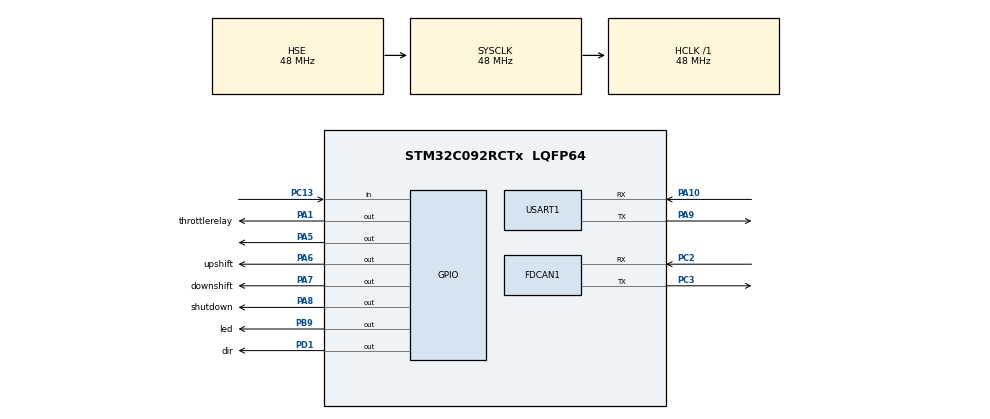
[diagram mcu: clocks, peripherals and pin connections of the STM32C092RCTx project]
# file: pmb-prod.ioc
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FDCAN1.CalculateBaudRateNominal=500000
FDCAN1.CalculateTimeBitNominal=2000
FDCAN1.CalculateTimeQuantumNominal=83.33333333333333
FDCAN1.DataSyncJumpWidth=11
FDCAN1.DataTimeSeg1=12
FDCAN1.DataTimeSeg2=11
FDCAN1.NominalPrescaler=1
FDCAN1.NominalSyncJumpWidth=3
FDCAN1.NominalTimeSeg1=20
FDCAN1.NominalTimeSeg2=3
FDCAN1.StdFiltersNbr=0
Mcu.Family=STM32C0
Mcu.Name=STM32C092RCTx
Mcu.Package=LQFP64
NUCLEO-C092RC.BUTTON=1
NUCLEO-C092RC.LD1=true
NUCLEO-C092RC.LD2=true
NUCLEO-C092RC.VCP=true
NVIC.EXTI4_15_IRQn=true\:0\:0\:false\:false\:true\:false\:true\:true
NVIC.FDCAN1_IT0_IRQn=true\:0\:0\:false\:false\:true\:true\:true\:true
NVIC.TIM17_IRQn=true\:0\:0\:false\:false\:true\:true\:true\:true
NVIC.USART1_IRQn=true\:0\:0\:false\:false\:true\:true\:true\:true
PA0.Signal=S_TIM2_CH1
PA1.GPIO_Label=throttlerelay
PA1.GPIO_Speed=GPIO_SPEED_FREQ_LOW
PA1.Signal=GPIO_Output
PA10.Mode=Asynchronous
PA10.Signal=USART1_RX
PA13.GPIO_Label=SWDIO
PA13.Signal=DEBUG_SWDIO
PA14-BOOT0.GPIO_Label=SWCLK
PA14-BOOT0.Signal=DEBUG_SWCLK
PA2.Signal=USART2_TX
PA3.Signal=USART2_RX
PA5.Signal=GPIO_Output
PA6.GPIO_Label=upshift
PA6.Signal=GPIO_Output
PA7.GPIO_Label=downshift
PA7.Signal=GPIO_Output
PA8.GPIO_Label=shutdown
PA8.Signal=GPIO_Output
PA9.Mode=Asynchronous
PA9.Signal=USART1_TX
PB9.GPIO_Label=led
PB9.Signal=GPIO_Output
PC13.Signal=GPIO_Input
PC14-OSCX_IN(PC14).GPIO_Label=OSCX_IN
PC14-OSCX_IN(PC14).Signal=RCC_OSCX_IN
PC15-OSCX_OUT(PC15).GPIO_Label=OSCX_OUT
PC15-OSCX_OUT(PC15).Signal=RCC_OSCX_OUT
PC2.Mode=FDCAN_Activate
PC2.Signal=FDCAN1_RX
PC3.Mode=FDCAN_Activate
PC3.Signal=FDCAN1_TX
PD1.GPIO_Label=dir
PD1.Signal=GPIO_Output
PF0-OSC_IN(PF0).GPIO_Label=OSC_IN
PF0-OSC_IN(PF0).Mode=HSE-External-Oscillator
PF0-OSC_IN(PF0).Signal=RCC_OSC_IN
PF1-OSC_OUT(PF1).GPIO_Label=OSC_OUT
PF1-OSC_OUT(PF1).Mode=HSE-External-Oscillator
PF1-OSC_OUT(PF1).Signal=RCC_OSC_OUT
ProjectManager.HeapSize=0x200
ProjectManager.StackSize=0x400
ProjectManager.TargetToolchain=CMake
RCC.ADCFreq_Value=48000000
RCC.AHBFreq_Value=48000000
RCC.APB1CLKDivider=RCC_APB1_DIV4
RCC.CortexFreq_Value=48000000
RCC.EXTERNAL_CLOCK_VALUE=12288000
RCC.HCLKFreq_Value=48000000
RCC.HSE_VALUE=48000000
RCC.HSISYSCLKDivider=RCC_HSI_DIV1
RCC.HSI_VALUE=48000000
RCC.LSE_VALUE=32768
RCC.SYSCLKFreq_VALUE=48000000
RCC.SYSCLKSource=RCC_SYSCLKSOURCE_HSE
RCC.USART1CLockSelection=RCC_USART1CLKSOURCE_SYSCLK
SH.S_TIM2_CH1.0=TIM2_CH1
TIM17.Prescaler=73
USART1.VirtualMode-Asynchronous=VM_ASYNC
VP_NUCLEO-C092RC_VS_BSP_COMMON.Mode=COMMON
VP_TIM17_VS_ClockSourceINT.Mode=Enable_Timer
board=NUCLEO-C092RC

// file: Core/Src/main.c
/* USER CODE BEGIN Header */
/**
  ******************************************************************************
  * @file           : main.c
  * @brief          : Main program body
  ******************************************************************************
  * @attention
  *
  * Copyright (c) 2026 STMicroelectronics.
  * All rights reserved.
  *
  * This software is licensed under terms that can be found in the LICENSE file
  * in the root directory of this software component.
  * If no LICENSE file comes with this software, it is provided AS-IS.
  *
  ******************************************************************************
  */
/* USER CODE END Header */
#include "main.h"

/* USER CODE BEGIN Includes */
#include "stm32c092xx.h"
#include "stm32c0xx_hal.h"
#include "stm32c0xx_hal_fdcan.h"
#include "stm32c0xx_hal_gpio.h"
#include "stm32c0xx_hal_tim.h"
#include "stm32c0xx_hal_uart.h"
#include "string.h"
#include "stdlib.h"
#include <stdint.h>
#include <stdio.h>
#include <sys/_intsup.h>
/* USER CODE END Includes */

/* USER CODE BEGIN PD */

#define SHIFT_CAN_FRAME 172

/* USER CODE END PD */

COM_InitTypeDef BspCOMInit;

FDCAN_HandleTypeDef hfdcan1;

TIM_HandleTypeDef htim17;

UART_HandleTypeDef huart1;

/* USER CODE BEGIN PV */

uint32_t apps1 = 0;
uint32_t apps2 = 0;

uint32_t tps1 = 0;
uint32_t tps2 = 0;

uint32_t bs1 = 0;
uint32_t bs2 = 0;

uint32_t gearpositionsensor = 0;
uint32_t actualgear = 1; //translation from gearpositionsensor variable

FDCAN_FilterTypeDef canfilter;

Canqueue canqueue = {0};

Canqueue importantcanqueue = {0};

volatile uint8_t shift_direction = 0;
volatile uint8_t shiftcounter = 0; //random number
volatile uint8_t currentshiftcounter = 0; //random number

volatile uint32_t cancounter = 0;

uint8_t sensorflags = 0;

/* USER CODE END PV */

void SystemClock_Config(void);
static void MX_GPIO_Init(void);
static void MX_FDCAN1_Init(void);
static void MX_USART1_UART_Init(void);
static void MX_TIM17_Init(void);

/* USER CODE BEGIN 0 */

uint8_t onebyte;
volatile uint8_t gotcommand = 0;
volatile int fulllen = 40;
char intbuffer[40] = {0};

void HAL_UART_RxCpltCallback(UART_HandleTypeDef *huart)
{
  intbuffer[40 - fulllen] = onebyte;
  if (onebyte == '!') {
    intbuffer[40 - fulllen] = '\0';
    gotcommand = 1;
    return;
  } else {
    fulllen--;
  }

  HAL_UART_Receive_IT(&huart1, &onebyte, 1);
}

void HAL_FDCAN_RxFifo0Callback(FDCAN_HandleTypeDef *hfdcan, uint32_t RxFifo0ITs) {

  cancounter += 1;

  if ((RxFifo0ITs & FDCAN_IT_RX_FIFO0_NEW_MESSAGE) != RESET) {
    FDCAN_RxHeaderTypeDef tempHeader = {0};
    uint8_t tempData[8] = {0};

    HAL_FDCAN_GetRxMessage(&hfdcan1, FDCAN_RX_FIFO0, &tempHeader, tempData);

    switch (tempHeader.Identifier) {
      case SHIFT_CAN_FRAME:
        shift_direction = tempData[0];
        shiftcounter = tempData[1];
        return;
        break;
      default:
        break;
    }

    uint8_t next = (canqueue.head + 1) % CAN_QUEUE_SIZE;
    if (next != canqueue.tail) {
      canqueue.messagequeue[next].rxheader = tempHeader;
      memcpy(canqueue.messagequeue[next].canrxdata, tempData, sizeof(tempData));
      canqueue.head = next;
    }
  }
}

void add_message_to_queue(FDCAN_TxHeaderTypeDef * header, uint8_t * datatosend) {
  while (HAL_FDCAN_GetTxFifoFreeLevel(&hfdcan1) == 0) {
    continue;
  }

  uint32_t errormessage = HAL_FDCAN_AddMessageToTxFifoQ(&hfdcan1, header, (const uint8_t *)datatosend);
  if (errormessage != HAL_OK) {
    char buffer[40] = {0};
    sprintf(buffer, "message send fail, error code %lu", errormessage);
    customprint(buffer);
  }
}

int getcommand(uint8_t * buffer, int maxlen) {
  memset(buffer, 0, maxlen);
  uint8_t singlebyte = 0;
  while (maxlen) {
    HAL_UART_Receive(&huart1, &singlebyte, 1, 0xFFFF);
    buffer[40 - maxlen] = singlebyte;

    if (singlebyte == '!') {
      buffer[40 - maxlen] = '\0';
      break;
    }

    maxlen--;
  }

  return maxlen;
}

/*
int gp = 80;
int gi = 20;
int gd = 70;
int integral = 0;

int gpr = 80;
int gir = 20;
int gdr = 70;

int targetvalue = 2000;
int previouserror = 0;
int dt = 1;

int pid_output_value() {
  int error = targetvalue - (int)tps1;

  int proportion;
  int derivative;

  if (error > 0) {
    proportion = ((error * gp) / 100);
    integral = integral + ((dt * error * gi) / 100);
    derivative = (((error - previouserror) * gd) / 100);
  } else {
    proportion = ((error * gpr) / 100);
    integral = integral + ((dt * error * gir) / 100);
    derivative = (((error - previouserror) * gdr) / 100);
  }

  previouserror = error;

  int finalresult = proportion + integral + derivative;
  if (finalresult > MAX_FORWARD_POWER) {
    return (int)MAX_FORWARD_POWER;
  } else if (finalresult < MAX_BACKWARD_POWER) {
    return (int)MAX_BACKWARD_POWER;
  } else {
    return finalresult;
  }
}

volatile uint8_t ocdelayflag = 0;

void HAL_TIM_OC_DelayElapsedCallback(TIM_HandleTypeDef *htim) {
  if (htim->Instance == TIM1) {
    ocdelayflag = 1;
    switch (htim->Channel) { //100ms
      case HAL_TIM_ACTIVE_CHANNEL_1:
        canframe_missing = 1;
        break;
      case HAL_TIM_ACTIVE_CHANNEL_3:
        tps_implausibility = 1;
        break;
      case HAL_TIM_ACTIVE_CHANNEL_4:
        apps_implausibility = 1;
        break;
      case HAL_TIM_ACTIVE_CHANNEL_5:
        bse_implausibility = 1;
        break;
      default:
        break;
    }
  }

  if (htim->Instance == TIM15) { //1 second
    switch (htim->Channel) {
      case HAL_TIM_ACTIVE_CHANNEL_1:
        //throttle_stuck = 1;
        throttle_return = 1;
        break;
      case HAL_TIM_ACTIVE_CHANNEL_2:
        throttle_return_delay_passed = 1;
        break;
      default:
        break;
    }
  }
  if (htim->Instance == TIM16) { //1.337 second
    switch (htim->Channel) {
      case HAL_TIM_ACTIVE_CHANNEL_1:
        safe_to_enable_fuel_throttle = 1;
        break;
      default:
        break;
    }
  }
}
*/

void customprint(const char * toprint) {
  HAL_UART_Transmit(&huart1, "safety:\t", strlen("safety\t"), 100);
  HAL_UART_Transmit(&huart1, (uint8_t *)toprint, strlen(toprint), 100);
}

static FDCAN_TxHeaderTypeDef shiftcutheader;
static uint8_t shiftcutdata[8] = {1, 1, 1, 1, 1, 1, 1, 1};

int sendshiftcut() {
  add_message_to_queue(&shiftcutheader, shiftcutdata);

  return 0;
}

FDCAN_TxHeaderTypeDef txheader6;
uint8_t ackframe[8] = {0};
uint8_t currentuniqueid = 1;

HAL_StatusTypeDef sendshiftacknowledgement(int uniqueid) {
  ackframe[1] = uniqueid;
  add_message_to_queue(&txheader6, ackframe);
}

volatile uint8_t solenoid_time_elapsed = 0;

void doshift() {

  if (shiftcounter == currentshiftcounter) {
    return;
  } else {
    currentshiftcounter = shiftcounter;
    customprint("doing a shift\n");
  }

  HAL_TIM_Base_Start_IT(&htim17);

  switch (shift_direction) {
    case 1:
      HAL_GPIO_WritePin(GPIOB, GPIO_PIN_9, GPIO_PIN_SET);
      HAL_GPIO_WritePin(GPIOA, GPIO_PIN_7, GPIO_PIN_SET);\
      break;
    case 2:
      sendshiftcut();
      HAL_GPIO_WritePin(GPIOB, GPIO_PIN_9, GPIO_PIN_SET);
      HAL_GPIO_WritePin(GPIOA, GPIO_PIN_6, GPIO_PIN_SET);
      break;
    default:
      customprint("error with direction\n");
      break;
  }
}

void HAL_TIM_PeriodElapsedCallback(TIM_HandleTypeDef *htim) {
  if (htim->Instance == TIM17) {
    solenoid_time_elapsed = 1;
  }
}

/*
uint16_t translatestep(uint16_t candidate, uint16_t * inputvalues, uint16_t * outputvalues, uint8_t steps) {
  uint16_t current_min_delta = 65535;
  uint16_t bestfitindex = 0;
  for (int i = 0; i < steps; i++) {
    if (abs(((int)inputvalues[i]) - ((int)candidate)) < current_min_delta) {
      bestfitindex = i;
    }
  }
  return outputvalues[bestfitindex];
}

uint16_t originalvalues[7] = {580, 860, 1140, 1710, 2260, 2800, 3489};
uint16_t realvalues[7] = {1, 7, 2, 3, 4, 5};
uint16_t translatedgps = 8;

volatile uint8_t translate_and_send_sensor_values = 0;
*/

/* USER CODE END 0 */

int main(void)
{

  /* MCU Configuration--------------------------------------------------------*/

  /* Reset of all peripherals, Initializes the Flash interface and the Systick. */
  HAL_Init();

  /* Configure the system clock */
  SystemClock_Config();

  /* Initialize all configured peripherals */
  MX_GPIO_Init();
  MX_FDCAN1_Init();
  MX_USART1_UART_Init();
  MX_TIM17_Init();
  /* USER CODE BEGIN 2 */
  //HAL_TIM_PWM_Start(&htim2, TIM_CHANNEL_1);
  /* USER CODE END 2 */

  /* Initialize leds */
  BSP_LED_Init(LED_GREEN);
  BSP_LED_Init(LED_BLUE);

  /* Initialize USER push-button, will be used to trigger an interrupt each time it's pressed.*/
  BSP_PB_Init(BUTTON_USER, BUTTON_MODE_EXTI);

  /* Initialize COM1 port (115200, 8 bits (7-bit data + 1 stop bit), no parity */
  BspCOMInit.BaudRate   = 115200;
  BspCOMInit.WordLength = COM_WORDLENGTH_8B;
  BspCOMInit.StopBits   = COM_STOPBITS_1;
  BspCOMInit.Parity     = COM_PARITY_NONE;
  BspCOMInit.HwFlowCtl  = COM_HWCONTROL_NONE;
  if (BSP_COM_Init(COM1, &BspCOMInit) != BSP_ERROR_NONE)
  {
    Error_Handler();
  }

  /* Infinite loop */
  /* USER CODE BEGIN WHILE */

  FDCAN_FilterTypeDef canfilter;
  FDCAN_TxHeaderTypeDef txheader6;

  char buffer[40] = {0};

  //TIM2->CCR1 = 100;

  //HAL_TIM_OC_Start_IT(&htim1, TIM_CHANNEL_1);
  //HAL_TIM_OC_Start_IT(&htim1, TIM_CHANNEL_3);
  //HAL_TIM_OC_Start_IT(&htim1, TIM_CHANNEL_4);
  //HAL_TIM_OC_Start_IT(&htim1, TIM_CHANNEL_5);
  //HAL_TIM_Base_Start_IT(&htim17);

  HAL_GPIO_TogglePin(GPIOB, GPIO_PIN_9);
  HAL_Delay(40);
  HAL_GPIO_TogglePin(GPIOB, GPIO_PIN_9);
  HAL_Delay(90);
  HAL_GPIO_TogglePin(GPIOB, GPIO_PIN_9);

  shiftcutheader.Identifier = 120;
  shiftcutheader.IdType = FDCAN_STANDARD_ID;
  shiftcutheader.TxFrameType = FDCAN_DATA_FRAME;
  shiftcutheader.DataLength = FDCAN_DLC_BYTES_8;
  shiftcutheader.ErrorStateIndicator = FDCAN_ESI_ACTIVE;
  shiftcutheader.BitRateSwitch = FDCAN_BRS_OFF;
  shiftcutheader.FDFormat = FDCAN_CLASSIC_CAN;
  shiftcutheader.MessageMarker = 0;

  txheader6.Identifier = 50;
  txheader6.IdType = FDCAN_STANDARD_ID;
  txheader6.TxFrameType = FDCAN_DATA_FRAME;
  txheader6.DataLength = FDCAN_DLC_BYTES_8;
  txheader6.ErrorStateIndicator = FDCAN_ESI_ACTIVE;
  txheader6.BitRateSwitch = FDCAN_BRS_OFF;
  txheader6.FDFormat = FDCAN_CLASSIC_CAN;
  txheader6.MessageMarker = 0;

  uint16_t cantxdata[4] = {400, 500, 600, 700};

  canfilter.IdType = FDCAN_STANDARD_ID;
  canfilter.FilterIndex = 0;
  canfilter.FilterType = FDCAN_FILTER_MASK;
  canfilter.FilterConfig = FDCAN_FILTER_TO_RXFIFO0;
  canfilter.FilterID1 = 0x000;
  canfilter.FilterID2 = 0x000;

  HAL_FDCAN_ConfigFilter(&hfdcan1, &canfilter);

  HAL_FDCAN_Start(&hfdcan1);

  HAL_FDCAN_ActivateNotification(&hfdcan1, FDCAN_IT_RX_FIFO0_NEW_MESSAGE, 0);

  HAL_UART_Receive_IT(&huart1, &onebyte, 1);

  uint32_t loopcounter = 0;

  uint8_t printcan = 0;

  uint8_t dopid = 1;
  uint8_t printpid = 1;

  uint8_t useapps = 1;

  uint8_t safetyprint = 1;

  HAL_GPIO_WritePin(GPIOD, GPIO_PIN_1, GPIO_PIN_RESET); //pololu direction
  HAL_GPIO_WritePin(GPIOA, GPIO_PIN_1, GPIO_PIN_SET); //throttle relay
  HAL_GPIO_WritePin(GPIOA, GPIO_PIN_8, GPIO_PIN_SET); //shutdown;

  FDCAN_TxHeaderTypeDef txheader2;
  txheader2.Identifier = 50;
  txheader2.IdType = FDCAN_STANDARD_ID;
  txheader2.TxFrameType = FDCAN_DATA_FRAME;
  txheader2.DataLength = FDCAN_DLC_BYTES_8;
  txheader2.ErrorStateIndicator = FDCAN_ESI_ACTIVE;
  txheader2.BitRateSwitch = FDCAN_BRS_OFF;
  txheader2.FDFormat = FDCAN_CLASSIC_CAN;
  txheader2.MessageMarker = 0;
  uint8_t * txheader2data = {0};

  while (1)
  {

    loopcounter++;

    /*
    if (translate_and_send_sensor_values) {
      translatedgps = translatestep(gearpositionsensor, originalvalues, realvalues, sizeof(realvalues));
      char gearbuffer[40] = {0};
      txheader2data[0] = translatedgps;
      sprintf(translatedgps, "the actual gear is %u", translatedgps);
      customprint(gearbuffer);
      add_message_to_queue(&txheader2, txheader2data);
      translate_and_send_sensor_values = 0;
    }
      */

    doshift();
    if (solenoid_time_elapsed) {
      HAL_TIM_Base_Stop_IT(&htim17);
      HAL_GPIO_WritePin(GPIOB, GPIO_PIN_9, GPIO_PIN_RESET);
      HAL_GPIO_WritePin(GPIOA, GPIO_PIN_7, GPIO_PIN_RESET);
      HAL_GPIO_WritePin(GPIOA, GPIO_PIN_6, GPIO_PIN_RESET);
      solenoid_time_elapsed = 0;
    }

    if (canqueue.tail != canqueue.head) { //dequeue from normal queue

      uint32_t identifier = canqueue.messagequeue[canqueue.tail].rxheader.Identifier;

      switch (identifier) {
        case 210:
          apps1 = ((uint16_t *)(canqueue.messagequeue[canqueue.tail].canrxdata))[0];
          sensorflags |= 0b00000001;
          break;
        case 215:
          apps2 = ((uint16_t *)(canqueue.messagequeue[canqueue.tail].canrxdata))[3];
          tps1 = ((uint16_t *)(canqueue.messagequeue[canqueue.tail].canrxdata))[2];
          tps2 = ((uint16_t *)(canqueue.messagequeue[canqueue.tail].canrxdata))[1];
          bs1 = ((uint16_t *)(canqueue.messagequeue[canqueue.tail].canrxdata))[0];
          sensorflags |= 0b00011110;
          break;
        case 214:
          bs2 = ((uint16_t *)(canqueue.messagequeue[canqueue.tail].canrxdata))[3];
          sensorflags |= 0b00100000;
          break;
        case 213:
          gearpositionsensor = ((uint16_t *)(canqueue.messagequeue[canqueue.tail].canrxdata))[1];
        default:
          char otherbuffer[40] = {0};
          sprintf(otherbuffer, "misc message from : %u\n", identifier);
          break;
      }

      canqueue.tail = (canqueue.tail + 1) % CAN_QUEUE_SIZE;

      if (printcan) {
        if ((loopcounter % 100000) == 0) {
          //HAL_UART_Transmit(&huart1, finalbuffer, strlen(finalbuffer), 100);
        }
        //HAL_UART_Transmit(&huart1, finalbuffer, strlen(finalbuffer), 100);

        if (sensorflags == 0b00111111) {
          char sensorbuffer[600] = {0};
          sprintf(sensorbuffer, "apps1: %u\napps2: %u\ntps1: %u\ntps2: %u\nbs1: %u\nbs2: %u\ngps: %u\n\n", apps1, apps2, tps1, tps2, bs1, bs2, gearpositionsensor);
          HAL_UART_Transmit(&huart1, sensorbuffer, strlen(sensorbuffer), 100);
          sensorflags = 0x00000000;
        }

      }

    } else if (HAL_FDCAN_GetRxFifoFillLevel(&hfdcan1, FDCAN_RX_FIFO0) == 3) {
      FDCAN_RxHeaderTypeDef tempHeader;
      uint8_t tempData[8];
      while (HAL_FDCAN_GetRxFifoFillLevel(&hfdcan1, FDCAN_RX_FIFO0)) {
        HAL_FDCAN_GetRxMessage(&hfdcan1, FDCAN_RX_FIFO0, &tempHeader, tempData);
      }
      canqueue.head = 0;
      canqueue.tail = 0;
    }

    if (gotcommand) {

      HAL_UART_Transmit(&huart1, (uint8_t *)intbuffer, 40 - fulllen, 100);
      char counterbuffer[40] = {0};
      sprintf(counterbuffer, "\nloop counter: %lu, cancounter: %lu\n", loopcounter, cancounter);
      HAL_UART_Transmit(&huart1, counterbuffer, strlen(counterbuffer), 100);

      if (!strcmp(intbuffer, "togglecanprint")) {
        printcan = !printcan;
      }

      /*
      if (!strcmp(intbuffer, "togglepidprint")) {
        printpid = !printpid;
      }

      if (!strcmp(intbuffer, "pid")) {
        dopid = !dopid;
      }

      if (!strcmp(intbuffer, "safety")) {
        safetyprint = !safetyprint;
      }

      if (!strcmp(intbuffer, "useapps")) {
        useapps = !useapps;
        if (useapps) {
          HAL_UART_Transmit(&huart1, "using apps for tps\n", strlen("using apps for tps\n"), 100);
        } else {
          HAL_UART_Transmit(&huart1, "not using apps for tps\n", strlen("using apps for tps\n"), 100);
        }
      }

      if (!strcmp(intbuffer, "setp")) {
        int receivedbytes = getcommand((uint8_t *)buffer, 40);
        int newgp = atoi(buffer);
        if (newgp >= 0) {
          gp = newgp;
          char pwmbuffer[40] = {0};
          sprintf(pwmbuffer, "p is %d%%", gp);
          HAL_UART_Transmit(&huart1, pwmbuffer, strlen(pwmbuffer), 100);
        }
      }

      if (!strcmp(intbuffer, "seti")) {
        int receivedbytes = getcommand((uint8_t *)buffer, 40);
        int newgi = atoi(buffer);
        if (newgi >= 0) {
          gi = newgi;
          char pwmbuffer[40] = {0};
          sprintf(pwmbuffer, "i is %d%%", gi);
          HAL_UART_Transmit(&huart1, pwmbuffer, strlen(pwmbuffer), 100);
        }
      }

      if (!strcmp(intbuffer, "setd")) {
        int receivedbytes = getcommand((uint8_t *)buffer, 40);
        int newgd = atoi(buffer);
        if (newgd >= 0) {
          gd = newgd;
          char pwmbuffer[40] = {0};
          sprintf(pwmbuffer, "d is %d%%", gd);
          HAL_UART_Transmit(&huart1, pwmbuffer, strlen(pwmbuffer), 100);
        }
      }

      if (!strcmp(intbuffer, "setpr")) {
        int receivedbytes = getcommand((uint8_t *)buffer, 40);
        int newgp = atoi(buffer);
        if (newgp >= 0) {
          gpr = newgp;
          char pwmbuffer[40] = {0};
          sprintf(pwmbuffer, "pr is %d%%", gpr);
          HAL_UART_Transmit(&huart1, pwmbuffer, strlen(pwmbuffer), 100);
        }
      }

      if (!strcmp(intbuffer, "setir")) {
        int receivedbytes = getcommand((uint8_t *)buffer, 40);
        int newgd = atoi(buffer);
        if (newgd >= 0) {
          gir = newgd;
          char pwmbuffer[40] = {0};
          sprintf(pwmbuffer, "ir is %d%%", gir);
          HAL_UART_Transmit(&huart1, pwmbuffer, strlen(pwmbuffer), 100);
        }
      }

      if (!strcmp(intbuffer, "setdr")) {
        int receivedbytes = getcommand((uint8_t *)buffer, 40);
        int newgd = atoi(buffer);
        if (newgd >= 0) {
          gdr = newgd;
          char pwmbuffer[40] = {0};
          sprintf(pwmbuffer, "dr is %d%%", gdr);
          HAL_UART_Transmit(&huart1, pwmbuffer, strlen(pwmbuffer), 100);
        }
      }

      if (!strcmp(intbuffer, "setintended")) {
        int receivedbytes = getcommand((uint8_t *)buffer, 40);
        int newintended = atoi(buffer);
        if (newintended > 0) {
          targetvalue = newintended;
          char pwmbuffer[40] = {0};
          sprintf(pwmbuffer, "intended is %d%%", targetvalue);
          HAL_UART_Transmit(&huart1, pwmbuffer, strlen(pwmbuffer), 100);
        }
      }

      */

      if (!strcmp(intbuffer, "led")) {
        HAL_GPIO_TogglePin(GPIOB, GPIO_PIN_9);
      }

      if (!strcmp(intbuffer, "shift")) {
        int receivedbytes = getcommand((uint8_t *)buffer, 40);
        if (!strcmp(buffer, "down")) {
          shiftcounter++;
          shift_direction = 2;
          /*
          HAL_GPIO_WritePin(GPIOA, GPIO_PIN_6, GPIO_PIN_SET); //upshift
          HAL_Delay(80);
          HAL_GPIO_WritePin(GPIOA, GPIO_PIN_6, GPIO_PIN_RESET); //upshift
          HAL_UART_Transmit(&huart1, "shifted up\n", strlen("shifted up\n"), 100);
          */

        } else if (!strcmp(buffer, "up")) {
          shiftcounter++;
          shift_direction = 1;
          /*
          HAL_GPIO_WritePin(GPIOA, GPIO_PIN_7, GPIO_PIN_SET); //downshift
          HAL_Delay(80);
          HAL_GPIO_WritePin(GPIOA, GPIO_PIN_7, GPIO_PIN_RESET); //downshift
          HAL_UART_Transmit(&huart1, "shifted down\n", strlen("shifted down\n"), 100);
          */
        }
      }

      if (!strcmp(intbuffer, "shutdown")) {
        HAL_GPIO_TogglePin(GPIOA, GPIO_PIN_8); //shutdown
        HAL_UART_Transmit(&huart1, "toggled shutdown\n", strlen("toggled shutdown\n"), 100);
      }

      if (!strcmp(intbuffer, "throttle")) {
        HAL_GPIO_TogglePin(GPIOA, GPIO_PIN_1); //throttlebody
        HAL_UART_Transmit(&huart1, "toggled throttle\n", strlen("toggle throttle\n"), 100);
      }

      /*
      if (!strcmp(intbuffer, "dirchange")) {
        HAL_GPIO_TogglePin(GPIOD, GPIO_PIN_1);
        HAL_UART_Transmit(&huart1, "changed direction\n", strlen("changed direction\n"), 100);
      }

      if (!strcmp(intbuffer, "pwm")) {
        int receivedbytes = getcommand((uint8_t *)buffer, 40);
        int pwmvalue = atoi(buffer);
        if (pwmvalue > 0) {
          TIM1->CCR1 = (unsigned int)pwmvalue;
          int percentvalue = pwmvalue / 20;
          char pwmbuffer[40] = {0};
          sprintf(pwmbuffer, "throttle pwm is %d%%", percentvalue);
          HAL_UART_Transmit(&huart1, pwmbuffer, strlen(pwmbuffer), 100);
        }
      }
      */

      memset(intbuffer, 0, fulllen);
      gotcommand = 0;
      fulllen = 40;
      HAL_UART_Receive_IT(&huart1, &onebyte, 1);
    }

    /* USER CODE END WHILE */

  }
}

void SystemClock_Config(void)
{
  RCC_OscInitTypeDef RCC_OscInitStruct = {0};
  RCC_ClkInitTypeDef RCC_ClkInitStruct = {0};

  __HAL_FLASH_SET_LATENCY(FLASH_LATENCY_1);

  /** Initializes the RCC Oscillators according to the specified parameters
  * in the RCC_OscInitTypeDef structure.
  */
  RCC_OscInitStruct.OscillatorType = RCC_OSCILLATORTYPE_HSE;
  RCC_OscInitStruct.HSEState = RCC_HSE_ON;
  if (HAL_RCC_OscConfig(&RCC_OscInitStruct) != HAL_OK)
  {
    Error_Handler();
  }

  /** Initializes the CPU, AHB and APB buses clocks
  */
  RCC_ClkInitStruct.ClockType = RCC_CLOCKTYPE_HCLK|RCC_CLOCKTYPE_SYSCLK
                              |RCC_CLOCKTYPE_PCLK1;
  RCC_ClkInitStruct.SYSCLKSource = RCC_SYSCLKSOURCE_HSE;
  RCC_ClkInitStruct.SYSCLKDivider = RCC_SYSCLK_DIV1;
  RCC_ClkInitStruct.AHBCLKDivider = RCC_HCLK_DIV1;
  RCC_ClkInitStruct.APB1CLKDivider = RCC_APB1_DIV4;

  if (HAL_RCC_ClockConfig(&RCC_ClkInitStruct, FLASH_LATENCY_1) != HAL_OK)
  {
    Error_Handler();
  }
}

static void MX_FDCAN1_Init(void)
{

  hfdcan1.Instance = FDCAN1;
  hfdcan1.Init.ClockDivider = FDCAN_CLOCK_DIV1;
  hfdcan1.Init.FrameFormat = FDCAN_FRAME_CLASSIC;
  hfdcan1.Init.Mode = FDCAN_MODE_NORMAL;
  hfdcan1.Init.AutoRetransmission = DISABLE;
  hfdcan1.Init.TransmitPause = DISABLE;
  hfdcan1.Init.ProtocolException = DISABLE;
  hfdcan1.Init.NominalPrescaler = 1;
  hfdcan1.Init.NominalSyncJumpWidth = 3;
  hfdcan1.Init.NominalTimeSeg1 = 20;
  hfdcan1.Init.NominalTimeSeg2 = 3;
  hfdcan1.Init.DataPrescaler = 1;
  hfdcan1.Init.DataSyncJumpWidth = 11;
  hfdcan1.Init.DataTimeSeg1 = 12;
  hfdcan1.Init.DataTimeSeg2 = 11;
  hfdcan1.Init.StdFiltersNbr = 0;
  hfdcan1.Init.ExtFiltersNbr = 0;
  hfdcan1.Init.TxFifoQueueMode = FDCAN_TX_FIFO_OPERATION;
  if (HAL_FDCAN_Init(&hfdcan1) != HAL_OK)
  {
    Error_Handler();
  }

}

static void MX_TIM17_Init(void)
{

  htim17.Instance = TIM17;
  htim17.Init.Prescaler = 73;
  htim17.Init.CounterMode = TIM_COUNTERMODE_UP;
  htim17.Init.Period = 65535;
  htim17.Init.ClockDivision = TIM_CLOCKDIVISION_DIV1;
  htim17.Init.RepetitionCounter = 0;
  htim17.Init.AutoReloadPreload = TIM_AUTORELOAD_PRELOAD_DISABLE;
  if (HAL_TIM_Base_Init(&htim17) != HAL_OK)
  {
    Error_Handler();
  }

}

static void MX_USART1_UART_Init(void)
{

  huart1.Instance = USART1;
  huart1.Init.BaudRate = 115200;
  huart1.Init.WordLength = UART_WORDLENGTH_8B;
  huart1.Init.StopBits = UART_STOPBITS_1;
  huart1.Init.Parity = UART_PARITY_NONE;
  huart1.Init.Mode = UART_MODE_TX_RX;
  huart1.Init.HwFlowCtl = UART_HWCONTROL_NONE;
  huart1.Init.OverSampling = UART_OVERSAMPLING_16;
  huart1.Init.OneBitSampling = UART_ONE_BIT_SAMPLE_DISABLE;
  huart1.Init.ClockPrescaler = UART_PRESCALER_DIV1;
  huart1.AdvancedInit.AdvFeatureInit = UART_ADVFEATURE_NO_INIT;
  if (HAL_UART_Init(&huart1) != HAL_OK)
  {
    Error_Handler();
  }
  if (HAL_UARTEx_SetTxFifoThreshold(&huart1, UART_TXFIFO_THRESHOLD_1_8) != HAL_OK)
  {
    Error_Handler();
  }
  if (HAL_UARTEx_SetRxFifoThreshold(&huart1, UART_RXFIFO_THRESHOLD_1_8) != HAL_OK)
  {
    Error_Handler();
  }
  if (HAL_UARTEx_DisableFifoMode(&huart1) != HAL_OK)
  {
    Error_Handler();
  }

}

static void MX_GPIO_Init(void)
{
  GPIO_InitTypeDef GPIO_InitStruct = {0};

  /* GPIO Ports Clock Enable */
  __HAL_RCC_GPIOC_CLK_ENABLE();
  __HAL_RCC_GPIOF_CLK_ENABLE();
  __HAL_RCC_GPIOA_CLK_ENABLE();
  __HAL_RCC_GPIOD_CLK_ENABLE();
  __HAL_RCC_GPIOB_CLK_ENABLE();

  /*Configure GPIO pin Output Level */
  HAL_GPIO_WritePin(GPIOA, throttlerelay_Pin|upshift_Pin|downshift_Pin|shutdown_Pin, GPIO_PIN_RESET);

  /*Configure GPIO pin Output Level */
  HAL_GPIO_WritePin(dir_GPIO_Port, dir_Pin, GPIO_PIN_RESET);

  /*Configure GPIO pin Output Level */
  HAL_GPIO_WritePin(led_GPIO_Port, led_Pin, GPIO_PIN_RESET);

  /*Configure GPIO pin : PA0 */
  GPIO_InitStruct.Pin = GPIO_PIN_0;
  GPIO_InitStruct.Mode = GPIO_MODE_AF_PP;
  GPIO_InitStruct.Pull = GPIO_NOPULL;
  GPIO_InitStruct.Speed = GPIO_SPEED_FREQ_LOW;
  GPIO_InitStruct.Alternate = GPIO_AF3_TIM2;
  HAL_GPIO_Init(GPIOA, &GPIO_InitStruct);

  /*Configure GPIO pins : throttlerelay_Pin upshift_Pin downshift_Pin shutdown_Pin */
  GPIO_InitStruct.Pin = throttlerelay_Pin|upshift_Pin|downshift_Pin|shutdown_Pin;
  GPIO_InitStruct.Mode = GPIO_MODE_OUTPUT_PP;
  GPIO_InitStruct.Pull = GPIO_NOPULL;
  GPIO_InitStruct.Speed = GPIO_SPEED_FREQ_LOW;
  HAL_GPIO_Init(GPIOA, &GPIO_InitStruct);

  /*Configure GPIO pin : dir_Pin */
  GPIO_InitStruct.Pin = dir_Pin;
  GPIO_InitStruct.Mode = GPIO_MODE_OUTPUT_PP;
  GPIO_InitStruct.Pull = GPIO_NOPULL;
  GPIO_InitStruct.Speed = GPIO_SPEED_FREQ_LOW;
  HAL_GPIO_Init(dir_GPIO_Port, &GPIO_InitStruct);

  /*Configure GPIO pin : led_Pin */
  GPIO_InitStruct.Pin = led_Pin;
  GPIO_InitStruct.Mode = GPIO_MODE_OUTPUT_PP;
  GPIO_InitStruct.Pull = GPIO_NOPULL;
  GPIO_InitStruct.Speed = GPIO_SPEED_FREQ_LOW;
  HAL_GPIO_Init(led_GPIO_Port, &GPIO_InitStruct);

}

void Error_Handler(void)
{
  __disable_irq();
  while (1)
  {
  }
}
